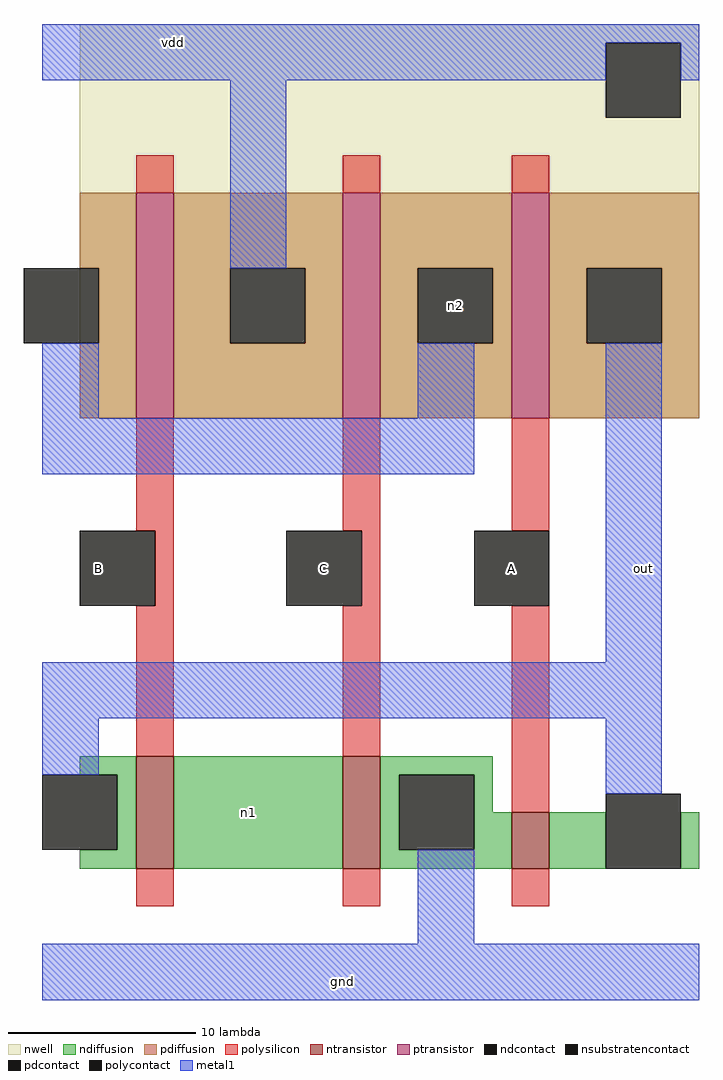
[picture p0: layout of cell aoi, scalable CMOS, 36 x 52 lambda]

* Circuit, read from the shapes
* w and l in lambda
.subckt aoi A B C gnd n1 n2 out vdd
M1 n1 B out VSUBS nfet w=6 l=2
M2 gnd C n1 VSUBS nfet w=6 l=2
M3 out A gnd VSUBS nfet w=3 l=2
M4 vdd B n2 vdd pfet w=12 l=2
M5 n2 C vdd vdd pfet w=12 l=2
M6 out A n2 vdd pfet w=12 l=2
.ends

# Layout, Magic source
magic
tech scmos
<< nwell >>
rect -16 -3 17 18
<< polysilicon >>
rect -13 9 -11 11
rect -2 9 0 11
rect 7 9 9 11
rect -13 -9 -11 -3
rect -2 -9 0 -3
rect 7 -9 9 -3
rect -12 -13 -11 -9
rect -1 -13 0 -9
rect -13 -21 -11 -13
rect -2 -21 0 -13
rect 7 -24 9 -13
rect -13 -29 -11 -27
rect -2 -29 0 -27
rect 7 -29 9 -27
<< ndiffusion >>
rect -16 -22 -13 -21
rect -14 -26 -13 -22
rect -16 -27 -13 -26
rect -11 -27 -2 -21
rect 0 -22 6 -21
rect 0 -26 1 -22
rect 5 -24 6 -22
rect 5 -26 7 -24
rect 0 -27 7 -26
rect 9 -27 12 -24
rect 16 -27 17 -24
<< pdiffusion >>
rect -16 5 -13 9
rect -15 1 -13 5
rect -16 -3 -13 1
rect -11 5 -2 9
rect -11 1 -8 5
rect -4 1 -2 5
rect -11 -3 -2 1
rect 0 5 7 9
rect 0 1 2 5
rect 6 1 7 5
rect 0 -3 7 1
rect 9 5 17 9
rect 9 1 11 5
rect 15 1 17 5
rect 9 -3 17 1
<< metal1 >>
rect -18 17 17 18
rect -18 15 12 17
rect -8 5 -5 15
rect 16 15 17 17
rect -18 -3 -15 1
rect 2 -3 5 1
rect -18 -6 5 -3
rect 12 -16 15 1
rect -18 -19 15 -16
rect -18 -22 -15 -19
rect 2 -31 5 -26
rect 12 -23 15 -19
rect -18 -34 17 -31
<< ntransistor >>
rect -13 -27 -11 -21
rect -2 -27 0 -21
rect 7 -27 9 -24
<< ptransistor >>
rect -13 -3 -11 9
rect -2 -3 0 9
rect 7 -3 9 9
<< polycontact >>
rect -16 -13 -12 -9
rect -5 -13 -1 -9
rect 5 -13 9 -9
<< ndcontact >>
rect -18 -26 -14 -22
rect 1 -26 5 -22
rect 12 -27 16 -23
<< pdcontact >>
rect -19 1 -15 5
rect -8 1 -4 5
rect 2 1 6 5
rect 11 1 15 5
<< nsubstratencontact >>
rect 12 13 16 17
<< labels >>
rlabel metal1 -11 17 -11 17 5 vdd
rlabel polycontact -15 -11 -15 -11 3 B
rlabel polycontact -3 -11 -3 -11 1 C
rlabel polycontact 7 -11 7 -11 1 A
rlabel ndiffusion -7 -24 -7 -24 1 n1
rlabel metal1 -2 -33 -2 -33 1 gnd
rlabel metal1 14 -11 14 -11 1 out
rlabel pdcontact 4 3 4 3 1 n2
<< end >>
